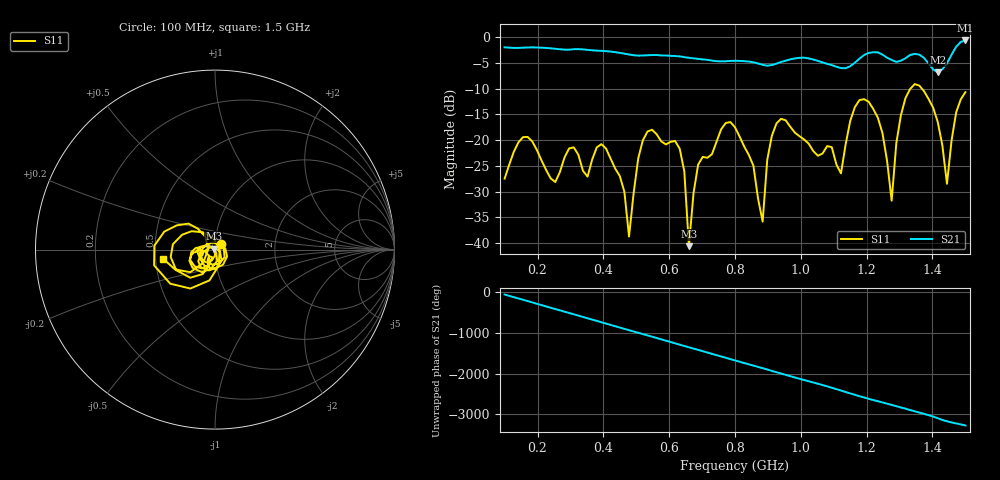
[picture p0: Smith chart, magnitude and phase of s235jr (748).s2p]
! NanoVNA-App
! Date: 2025-09-25 15:09:59
! Start: 100MHz Stop: 1,5GHz Points: 101
! S-Parameter data: F S11 S21 S12 S22
# Hz S RI R 50
!  Frequency  S11_Real  S11_Imag  S21_Real  S21_Imag  S12_Real  S12_Imag  S22_Real  S22_Imag
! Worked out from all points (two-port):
!   101 points, 100 MHz to 1.5 GHz, reference 50 ohm
!   highest |S21| = -0.64 dB at 1.5 GHz (marker M1); lowest = -6.8 dB at 1.416 GHz (marker M2)
!   |S21| within 3 dB of the highest: start of sweep to 608.4 MHz; 1.189 GHz to 1.254 GHz (64.97 MHz wide, 5.32 % of centre) (the widest 2 of 4)
!   lowest |S11| = -40.6 dB at 660 MHz (marker M3), VSWR 1.02, Z = 49.3 + j0.598 ohm
!   |S11| at or under -10 dB: start of sweep to 1.333 GHz; 1.368 GHz to end of sweep
!   S12 and S22 are empty: the file has one direction only
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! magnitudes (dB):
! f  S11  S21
! 100 MHz  -27.5  -2.0
! 156 MHz  -19.4  -2.0
! 338 MHz  -25.9  -2.4
! 408 MHz  -21.6  -2.7
! 478 MHz  -38.7  -3.4
! 520 MHz  -20.0  -3.6
! 576 MHz  -20.2  -3.5
! 632 MHz  -21.7  -3.7
! 660 MHz  -40.6  -4.0
! 688 MHz  -24.7  -4.2
! 800 MHz  -17.5  -4.6
! 884 MHz  -35.8  -5.4
! 926 MHz  -16.7  -5.1
! 1.038 GHz  -22.1  -4.3
! 1.122 GHz  -26.5  -6.0
! 1.164 GHz  -13.6  -5.0
! 1.206 GHz  -12.5  -3.1
! 1.276 GHz  -31.7  -4.4
! 1.332 GHz  -10.1  -3.5
! 1.416 GHz  -16.5  -6.8
! 1.444 GHz  -28.5  -5.1
! 1.5 GHz  -10.7  -0.6
